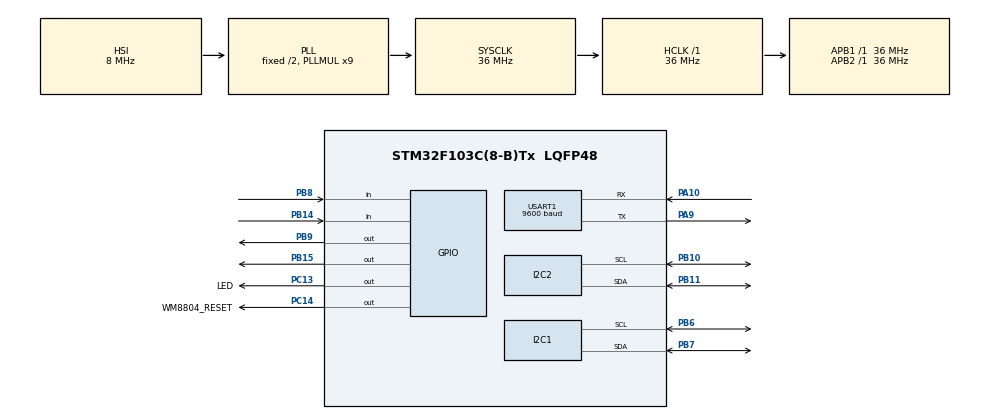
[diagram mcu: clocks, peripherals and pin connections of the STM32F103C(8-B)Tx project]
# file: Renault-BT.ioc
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I2C1.DualAddressMode=I2C_DUALADDRESS_DISABLE
Mcu.Family=STM32F1
Mcu.Name=STM32F103C(8-B)Tx
Mcu.Package=LQFP48
NVIC.PriorityGroup=NVIC_PRIORITYGROUP_4
PA10.Mode=Asynchronous
PA10.Signal=USART1_RX
PA13.Mode=Serial_Wire
PA13.Signal=SYS_JTMS-SWDIO
PA14.Mode=Serial_Wire
PA14.Signal=SYS_JTCK-SWCLK
PA9.Mode=Asynchronous
PA9.Signal=USART1_TX
PB10.Mode=I2C
PB10.Signal=I2C2_SCL
PB11.Mode=I2C
PB11.Signal=I2C2_SDA
PB14.Signal=GPIO_Input
PB15.Signal=GPIO_Output
PB6.Mode=I2C
PB6.Signal=I2C1_SCL
PB7.Mode=I2C
PB7.Signal=I2C1_SDA
PB8.Signal=GPIO_Input
PB9.Signal=GPIO_Output
PC13-TAMPER-RTC.GPIO_Label=LED
PC13-TAMPER-RTC.Signal=GPIO_Output
PC14-OSC32_IN.GPIO_Label=WM8804_RESET
PC14-OSC32_IN.Signal=GPIO_Output
ProjectManager.HeapSize=0x200
ProjectManager.StackSize=0x400
ProjectManager.TargetToolchain=SW4STM32
RCC.AHBFreq_Value=36000000
RCC.APB1Freq_Value=36000000
RCC.APB1TimFreq_Value=36000000
RCC.APB2Freq_Value=36000000
RCC.APB2TimFreq_Value=36000000
RCC.HCLKFreq_Value=36000000
RCC.PLLMUL=RCC_PLL_MUL9
RCC.SYSCLKFreq_VALUE=36000000
RCC.SYSCLKSource=RCC_SYSCLKSOURCE_PLLCLK
RCC.USBFreq_Value=36000000
USART1.BaudRate=9600
USART1.Parity=PARITY_EVEN
USART1.VirtualMode=VM_ASYNC
USART1.WordLength=WORDLENGTH_9B
board=Renault-BT

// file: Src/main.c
/**
 ******************************************************************************
 * File Name          : main.c
 * Description        : Main program body
 ******************************************************************************
 ** This notice applies to any and all portions of this file
 * that are not between comment pairs USER CODE BEGIN and
 * USER CODE END. Other portions of this file, whether
 * inserted by the user or by software development tools
 * are owned by their respective copyright owners.
 *
 * COPYRIGHT(c) 2019 STMicroelectronics
 *
 * Redistribution and use in source and binary forms, with or without modification,
 * are permitted provided that the following conditions are met:
 *   1. Redistributions of source code must retain the above copyright notice,
 *      this list of conditions and the following disclaimer.
 *   2. Redistributions in binary form must reproduce the above copyright notice,
 *      this list of conditions and the following disclaimer in the documentation
 *      and/or other materials provided with the distribution.
 *   3. Neither the name of STMicroelectronics nor the names of its contributors
 *      may be used to endorse or promote products derived from this software
 *      without specific prior written permission.
 *
 * THIS SOFTWARE IS PROVIDED BY THE COPYRIGHT HOLDERS AND CONTRIBUTORS "AS IS"
 * AND ANY EXPRESS OR IMPLIED WARRANTIES, INCLUDING, BUT NOT LIMITED TO, THE
 * IMPLIED WARRANTIES OF MERCHANTABILITY AND FITNESS FOR A PARTICULAR PURPOSE ARE
 * DISCLAIMED. IN NO EVENT SHALL THE COPYRIGHT HOLDER OR CONTRIBUTORS BE LIABLE
 * FOR ANY DIRECT, INDIRECT, INCIDENTAL, SPECIAL, EXEMPLARY, OR CONSEQUENTIAL
 * DAMAGES (INCLUDING, BUT NOT LIMITED TO, PROCUREMENT OF SUBSTITUTE GOODS OR
 * SERVICES; LOSS OF USE, DATA, OR PROFITS; OR BUSINESS INTERRUPTION) HOWEVER
 * CAUSED AND ON ANY THEORY OF LIABILITY, WHETHER IN CONTRACT, STRICT LIABILITY,
 * OR TORT (INCLUDING NEGLIGENCE OR OTHERWISE) ARISING IN ANY WAY OUT OF THE USE
 * OF THIS SOFTWARE, EVEN IF ADVISED OF THE POSSIBILITY OF SUCH DAMAGE.
 *
 ******************************************************************************
 */

#include "main.h"
#include "stm32f1xx_hal.h"

/* USER CODE BEGIN Includes */
#include <WM8804.h>
#include <CDCEmulator.h>
/* USER CODE END Includes */

I2C_HandleTypeDef hi2c1;
I2C_HandleTypeDef hi2c2;

UART_HandleTypeDef huart1;

/* USER CODE BEGIN PV */
/* Private variables ---------------------------------------------------------*/

/* USER CODE END PV */

void SystemClock_Config(void);
static void MX_GPIO_Init(void);
static void MX_I2C1_Init(void);
static void MX_I2C2_Init(void);
static void MX_USART1_UART_Init(void);

/* USER CODE BEGIN PFP */
/* Private function prototypes -----------------------------------------------*/
static void errorHandling(void);
/* USER CODE END PFP */

/* USER CODE BEGIN 0 */
static void errorHandling(void)
{
    while (1)
    {
        HAL_GPIO_TogglePin(GPIOC, LED_Pin);
        HAL_Delay(500u);
    }
}
/* USER CODE END 0 */

int main(void)
{

    /* MCU Configuration----------------------------------------------------------*/

    /* Reset of all peripherals, Initializes the Flash interface and the Systick. */
    HAL_Init();

    /* Configure the system clock */
    SystemClock_Config();

    /* Initialize all configured peripherals */
    MX_GPIO_Init();
    MX_I2C1_Init();
    MX_I2C2_Init();
    MX_USART1_UART_Init();

    /* USER CODE BEGIN 2 */
    uint32_t result = WM8804_RC__OK;

    WM8804_ResetPinConfig resetPinConfig = {
        .GPIOPeripheral = WM8804_RESET_GPIO_Port,
        .GPIOPin = WM8804_RESET_Pin,
        .activeLow = false
    };

    result |= WM8804_initialize(&hi2c1, 0x76u, resetPinConfig);

    if (!result)
    {
        result |= WM8804_configureModule();
    }

    if (!result)
    {
        CDCE_Config cdceConfig = { .huart = &huart1 };

        result |= CDCE_configure(cdceConfig);
    }

    if (!result)
    {
        result |= CDCE_start();
    }

    if (result)
    {
        /*
         * If an error occurred, error handler is called!
         */
        errorHandling();
    }

    /* USER CODE END 2 */

    /* Infinite loop */
    while (1)
    {

    }

}

/** System Clock Configuration
 */
void SystemClock_Config(void)
{

    RCC_OscInitTypeDef RCC_OscInitStruct;
    RCC_ClkInitTypeDef RCC_ClkInitStruct;

    /**Initializes the CPU, AHB and APB busses clocks
     */
    RCC_OscInitStruct.OscillatorType = RCC_OSCILLATORTYPE_HSI;
    RCC_OscInitStruct.HSIState = RCC_HSI_ON;
    RCC_OscInitStruct.HSICalibrationValue = 16;
    RCC_OscInitStruct.PLL.PLLState = RCC_PLL_ON;
    RCC_OscInitStruct.PLL.PLLSource = RCC_PLLSOURCE_HSI_DIV2;
    RCC_OscInitStruct.PLL.PLLMUL = RCC_PLL_MUL9;
    if (HAL_RCC_OscConfig(&RCC_OscInitStruct) != HAL_OK)
    {
        _Error_Handler(__FILE__, __LINE__);
    }

    /**Initializes the CPU, AHB and APB busses clocks
     */
    RCC_ClkInitStruct.ClockType = RCC_CLOCKTYPE_HCLK | RCC_CLOCKTYPE_SYSCLK
            | RCC_CLOCKTYPE_PCLK1 | RCC_CLOCKTYPE_PCLK2;
    RCC_ClkInitStruct.SYSCLKSource = RCC_SYSCLKSOURCE_PLLCLK;
    RCC_ClkInitStruct.AHBCLKDivider = RCC_SYSCLK_DIV1;
    RCC_ClkInitStruct.APB1CLKDivider = RCC_HCLK_DIV1;
    RCC_ClkInitStruct.APB2CLKDivider = RCC_HCLK_DIV1;

    if (HAL_RCC_ClockConfig(&RCC_ClkInitStruct, FLASH_LATENCY_1) != HAL_OK)
    {
        _Error_Handler(__FILE__, __LINE__);
    }

    /**Configure the Systick interrupt time
     */
    HAL_SYSTICK_Config(HAL_RCC_GetHCLKFreq() / 1000);

    /**Configure the Systick
     */
    HAL_SYSTICK_CLKSourceConfig(SYSTICK_CLKSOURCE_HCLK);

    /* SysTick_IRQn interrupt configuration */
    HAL_NVIC_SetPriority(SysTick_IRQn, 0, 0);
}

/* I2C1 init function */
static void MX_I2C1_Init(void)
{

    hi2c1.Instance = I2C1;
    hi2c1.Init.ClockSpeed = 100000;
    hi2c1.Init.DutyCycle = I2C_DUTYCYCLE_2;
    hi2c1.Init.OwnAddress1 = 0;
    hi2c1.Init.AddressingMode = I2C_ADDRESSINGMODE_7BIT;
    hi2c1.Init.DualAddressMode = I2C_DUALADDRESS_DISABLE;
    hi2c1.Init.OwnAddress2 = 0;
    hi2c1.Init.GeneralCallMode = I2C_GENERALCALL_DISABLE;
    hi2c1.Init.NoStretchMode = I2C_NOSTRETCH_DISABLE;
    if (HAL_I2C_Init(&hi2c1) != HAL_OK)
    {
        _Error_Handler(__FILE__, __LINE__);
    }

}

/* I2C2 init function */
static void MX_I2C2_Init(void)
{

    hi2c2.Instance = I2C2;
    hi2c2.Init.ClockSpeed = 100000;
    hi2c2.Init.DutyCycle = I2C_DUTYCYCLE_2;
    hi2c2.Init.OwnAddress1 = 0;
    hi2c2.Init.AddressingMode = I2C_ADDRESSINGMODE_7BIT;
    hi2c2.Init.DualAddressMode = I2C_DUALADDRESS_DISABLE;
    hi2c2.Init.OwnAddress2 = 0;
    hi2c2.Init.GeneralCallMode = I2C_GENERALCALL_DISABLE;
    hi2c2.Init.NoStretchMode = I2C_NOSTRETCH_DISABLE;
    if (HAL_I2C_Init(&hi2c2) != HAL_OK)
    {
        _Error_Handler(__FILE__, __LINE__);
    }

}

/* USART1 init function */
static void MX_USART1_UART_Init(void)
{

    huart1.Instance = USART1;
    huart1.Init.BaudRate = 9600;
    huart1.Init.WordLength = UART_WORDLENGTH_9B;
    huart1.Init.StopBits = UART_STOPBITS_1;
    huart1.Init.Parity = UART_PARITY_EVEN;
    huart1.Init.Mode = UART_MODE_TX_RX;
    huart1.Init.HwFlowCtl = UART_HWCONTROL_NONE;
    huart1.Init.OverSampling = UART_OVERSAMPLING_16;
    if (HAL_UART_Init(&huart1) != HAL_OK)
    {
        _Error_Handler(__FILE__, __LINE__);
    }

}

/** Configure pins as
 * Analog
 * Input
 * Output
 * EVENT_OUT
 * EXTI
 */
static void MX_GPIO_Init(void)
{

    GPIO_InitTypeDef GPIO_InitStruct;

    /* GPIO Ports Clock Enable */
    __HAL_RCC_GPIOC_CLK_ENABLE()
    ;
    __HAL_RCC_GPIOB_CLK_ENABLE()
    ;
    __HAL_RCC_GPIOA_CLK_ENABLE()
    ;

    /*Configure GPIO pin Output Level */
    HAL_GPIO_WritePin(GPIOC, LED_Pin | WM8804_RESET_Pin, GPIO_PIN_RESET);

    /*Configure GPIO pin Output Level */
    HAL_GPIO_WritePin(GPIOB, GPIO_PIN_15 | GPIO_PIN_9, GPIO_PIN_RESET);

    /*Configure GPIO pins : LED_Pin WM8804_RESET_Pin */
    GPIO_InitStruct.Pin = LED_Pin | WM8804_RESET_Pin;
    GPIO_InitStruct.Mode = GPIO_MODE_OUTPUT_PP;
    GPIO_InitStruct.Speed = GPIO_SPEED_FREQ_LOW;
    HAL_GPIO_Init(GPIOC, &GPIO_InitStruct);

    /*Configure GPIO pins : PB14 PB8 */
    GPIO_InitStruct.Pin = GPIO_PIN_14 | GPIO_PIN_8;
    GPIO_InitStruct.Mode = GPIO_MODE_INPUT;
    GPIO_InitStruct.Pull = GPIO_NOPULL;
    HAL_GPIO_Init(GPIOB, &GPIO_InitStruct);

    /*Configure GPIO pins : PB15 PB9 */
    GPIO_InitStruct.Pin = GPIO_PIN_15 | GPIO_PIN_9;
    GPIO_InitStruct.Mode = GPIO_MODE_OUTPUT_PP;
    GPIO_InitStruct.Speed = GPIO_SPEED_FREQ_LOW;
    HAL_GPIO_Init(GPIOB, &GPIO_InitStruct);

}

void _Error_Handler(char * file, int line)
{
    while (1)
    {
    }
}

/************************ (C) COPYRIGHT STMicroelectronics *****END OF FILE****/
